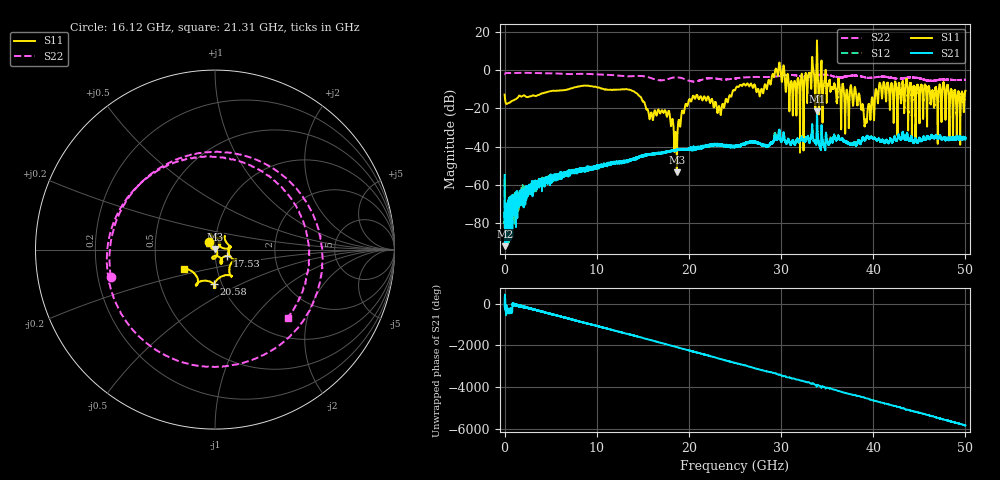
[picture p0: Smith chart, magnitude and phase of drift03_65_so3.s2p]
!Created with skrf (http://scikit-rf.org).
# Hz S RI R 50.0
!freq ReS11 ImS11 ReS21 ImS21 ReS12 ImS12 ReS22 ImS22
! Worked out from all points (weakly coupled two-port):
!   10001 points, 300 kHz to 50 GHz, reference 50 ohm
!   highest |S21| = -21.48 dB at 33.9 GHz (marker M1); lowest = -92.0 dB at 90.3 MHz (marker M2)
!   lowest |S11| = -53.3 dB at 18.69 GHz (marker M3), VSWR 1.00, Z = 49.9 + j0.208 ohm
!   |S11| at or under -10 dB: start of sweep to 6.939 GHz; 13.32 GHz to 25.04 GHz (11.73 GHz wide, 61.1 % of centre); 38.07 GHz to 40.26 GHz (2.188 GHz wide, 5.59 % of centre) (the widest 3 of 56)
!   |S22| runs from -5.9 to -1.3 dB; largest |S21 - S12| = 0.0078
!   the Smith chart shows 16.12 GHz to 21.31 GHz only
!   S11 on the Smith chart (normalised r, x): 16.12 GHz: 0.94, +0.08; 17.53 GHz: 1.14, -0.08; 20.58 GHz: 0.92, -0.37; 21.31 GHz: 0.69, -0.16
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300000  -0.2089 -0.0999  -0.00118 -0.00139  0.000262 0.00134  -0.7606 -0.2008
9.029946e7  -0.1362 0.0609  2.18e-05 -1.24e-05  7.94e-05 -0.000187  -0.8286 0.1327
1.530291e9  0.2032 0.0458  -5.89e-05 -0.000419  -0.000122 -0.00049  0.8486 0.0856
3.160281e9  -0.2188 -0.00837  0.000152 0.00101  0.00013 0.00072  -0.8441 -0.0244
4.665272e9  0.2636 0.0615  -0.000126 -0.00153  1.71e-06 -0.00129  0.8188 0.1419
6.360262e9  -0.3003 0.00052  0.000596 0.00182  0.000611 0.002  -0.804 -0.0427
8.33525e9  0.2838 -0.2679  -0.00237 -0.00073  -0.00227 -0.000769  0.602 -0.5358
1.043024e10  -0.0425 0.3325  0.00224 -0.00182  0.00254 -0.00174  -0.0375 0.7699
1.201523e10  0.00731 -0.3087  -0.003 0.00265  -0.00303 0.00264  0.1073 -0.7299
1.61152e10  -0.031 0.0408  0.00614 0.00227  0.00615 0.00196  -0.5795 -0.1509
1.66702e10  0.0539 0.0754  0.00478 -0.00485  0.00467 -0.00488  -0.3606 0.4178
1.752519e10  0.0672 -0.0347  -0.00614 -0.00386  -0.00613 -0.00401  0.4908 0.2911
1.869019e10  -0.000558 0.00208  0.00218 0.0078  0.00243 0.00781  -0.083 -0.6487
2.057518e10  -0.00547 -0.1938  -0.00783 -0.00458  -0.00766 -0.00416  0.3734 0.3457
2.131017e10  -0.173 -0.1091  -0.00574 0.00803  -0.00518 0.00809  0.4053 -0.3808
2.500015e10  -0.2975 -0.0476  0.00759 0.00679  0.00781 0.00677  -0.1856 -0.5837
3.051012e10  0.2502 -0.1094  -0.00228 0.0131  -0.00218 0.0126  0.7419 -0.0596
3.213011e10  0.2021 0.3738  -0.000574 -0.0152  -0.000577 -0.0152  -0.6969 0.00789
3.33351e10  0.4844 -1.001  -0.00453 0.0248  -0.00537 0.0246  0.6152 0.3659
3.38951e10  -0.5424 -5.986  0.0838 0.00934  0.0794 0.00916  0.6814 -0.3257
4.167005e10  -0.2229 0.2819  -0.0117 -0.00485  -0.0116 -0.00521  -0.6499 -0.0573
5e10  -0.1425 -0.252  0.00134 -0.0166  0.00149 -0.017  0.469 -0.316
